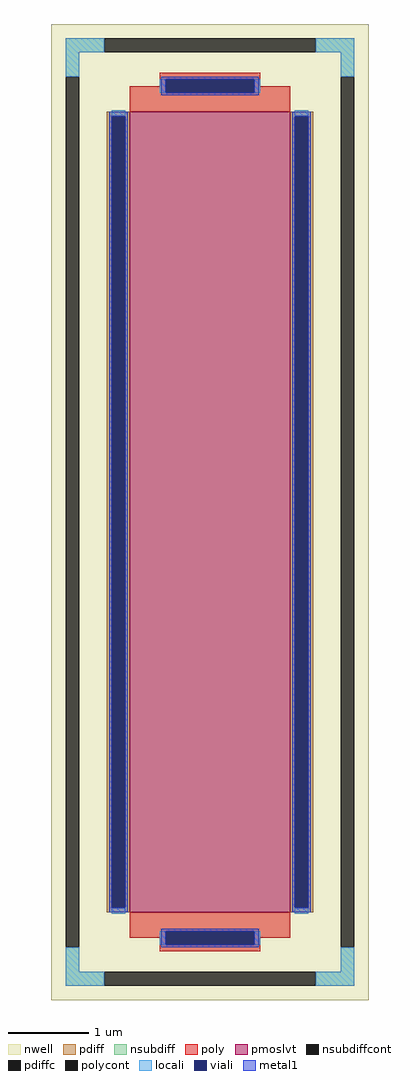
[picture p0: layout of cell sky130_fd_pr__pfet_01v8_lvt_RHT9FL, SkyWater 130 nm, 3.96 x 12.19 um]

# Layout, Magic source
magic
tech sky130B
magscale 1 2
<< nwell >>
rect -396 -1219 396 1219
<< pmoslvt >>
rect -200 -1000 200 1000
<< pdiff >>
rect -258 988 -200 1000
rect -258 -988 -246 988
rect -212 -988 -200 988
rect -258 -1000 -200 -988
rect 200 988 258 1000
rect 200 -988 212 988
rect 246 -988 258 988
rect 200 -1000 258 -988
<< pdiffc >>
rect -246 -988 -212 988
rect 212 -988 246 988
<< nsubdiff >>
rect -360 1149 -264 1183
rect 264 1149 360 1183
rect -360 1087 -326 1149
rect 326 1087 360 1149
rect -360 -1149 -326 -1087
rect 326 -1149 360 -1087
rect -360 -1183 -264 -1149
rect 264 -1183 360 -1149
<< nsubdiffcont >>
rect -264 1149 264 1183
rect -360 -1087 -326 1087
rect 326 -1087 360 1087
rect -264 -1183 264 -1149
<< poly >>
rect -126 1081 126 1097
rect -126 1064 -110 1081
rect -200 1047 -110 1064
rect 110 1064 126 1081
rect 110 1047 200 1064
rect -200 1000 200 1047
rect -200 -1047 200 -1000
rect -200 -1064 -110 -1047
rect -126 -1081 -110 -1064
rect 110 -1064 200 -1047
rect 110 -1081 126 -1064
rect -126 -1097 126 -1081
<< polycont >>
rect -110 1047 110 1081
rect -110 -1081 110 -1047
<< locali >>
rect -360 1149 -264 1183
rect 264 1149 360 1183
rect -360 1087 -326 1149
rect 326 1087 360 1149
rect -126 1047 -110 1081
rect 110 1047 126 1081
rect -246 988 -212 1004
rect -246 -1004 -212 -988
rect 212 988 246 1004
rect 212 -1004 246 -988
rect -126 -1081 -110 -1047
rect 110 -1081 126 -1047
rect -360 -1149 -326 -1087
rect 326 -1149 360 -1087
rect -360 -1183 -264 -1149
rect 264 -1183 360 -1149
<< viali >>
rect -110 1047 110 1081
rect -246 -988 -212 988
rect 212 -988 246 988
rect -110 -1081 110 -1047
<< metal1 >>
rect -122 1081 122 1087
rect -122 1047 -110 1081
rect 110 1047 122 1081
rect -122 1041 122 1047
rect -252 988 -206 1000
rect -252 -988 -246 988
rect -212 -988 -206 988
rect -252 -1000 -206 -988
rect 206 988 252 1000
rect 206 -988 212 988
rect 246 -988 252 988
rect 206 -1000 252 -988
rect -122 -1047 122 -1041
rect -122 -1081 -110 -1047
rect 110 -1081 122 -1047
rect -122 -1087 122 -1081
<< properties >>
string FIXED_BBOX -343 -1166 343 1166
string gencell sky130_fd_pr__pfet_01v8_lvt
string library sky130
string parameters w 10 l 2 m 1 nf 1 diffcov 100 polycov 60 guard 1 glc 1 grc 1 gtc 1 gbc 1 tbcov 100 rlcov 100 topc 1 botc 1 poverlap 0 doverlap 1 lmin 0.35 wmin 0.42 compatible {sky130_fd_pr__pfet_01v8  sky130_fd_pr__pfet_01v8_lvt sky130_fd_pr__pfet_01v8_hvt  sky130_fd_pr__pfet_g5v0d10v5} full_metal 1 viasrc 100 viadrn 100 viagate 60 viagb 0 viagr 0 viagl 0 viagt 0
<< end >>
